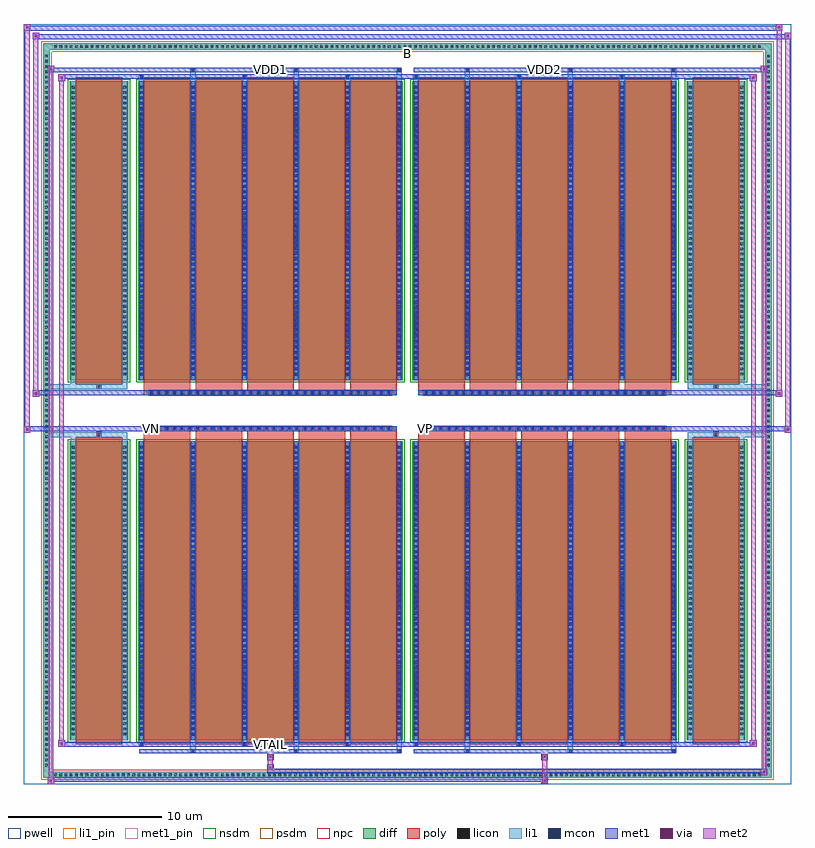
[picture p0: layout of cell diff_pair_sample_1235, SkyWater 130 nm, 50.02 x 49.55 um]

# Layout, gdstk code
import gdstk
lib = gdstk.Library(unit=1e-6, precision=5e-09)
def R(c, l, rs):  # rectangles x0, y0, x1, y1
    for r in rs: c.add(gdstk.rectangle(r[:2], r[2:], *l))
def A(c, l, x, y, w, h, nx, ny, dx, dy):  # array of equal rectangles
    R(c, l, [(x+i*dx, y+j*dy, x+i*dx+w, y+j*dy+h) for i in range(nx) for j in range(ny)])
def P(c, l, *ps):  # polygons
    for p in ps: c.add(gdstk.Polygon(p, *l))
pwell = (64, 44)
diff = (65, 20)
poly = (66, 20)
licon = (66, 44)
li1_pin = (67, 16)
li1 = (67, 20)
mcon = (67, 44)
met1_pin = (68, 16)
met1 = (68, 20)
via = (68, 44)
met2 = (69, 20)
nsdm = (93, 44)
psdm = (94, 20)
npc = (95, 20)

diff_pair_sample_1235 = lib.new_cell('diff_pair_sample_1235')
R(diff_pair_sample_1235, pwell, [(-25.01,-24.34,25.01,25.21), (-22.33,-22.53,-0.01,-0.805), (0.01,-22.53,22.33,-0.805), (-22.33,0.805,-0.01,22.53), (0.01,0.805,22.33,22.53)])
A(diff_pair_sample_1235, diff, -23.155, -23.94, 0.41, 0.41, 136, 2, 0.34, 47.47)
A(diff_pair_sample_1235, diff, -23.74, -23.325, 0.41, 0.41, 1, 137, 0, 0.34)
A(diff_pair_sample_1235, diff, 23.33, -23.325, 0.41, 0.41, 1, 137, 0, 0.34)
R(diff_pair_sample_1235, diff, [(-23.155,-23.94,23.155,-23.53), (-23.74,-23.325,-23.33,23.325), (23.33,-23.325,23.74,23.325), (-22.02,-21.485,-18.21,-1.985), (-17.57,-21.485,-0.32,-1.985), (0.32,-21.485,17.57,-1.985), (18.21,-21.485,22.02,-1.985), (-22.02,1.985,-18.21,21.485), (-17.57,1.985,-0.32,21.485), (0.32,1.985,17.57,21.485), (18.21,1.985,22.02,21.485), (-23.155,23.53,23.155,23.94)])
P(diff_pair_sample_1235, diff, [(23.74,23.94),(-23.74,23.94),(-23.74,-23.53),(-23.33,-23.53),(-23.33,23.53),(23.33,23.53),(23.33,-23.53),(-23.33,-23.53),(-23.74,-23.53),(-23.74,-23.94),(23.74,-23.94)])
A(diff_pair_sample_1235, poly, -17.18, -21.735, 3.03, 20, 5, 2, 3.36, 23.47)
A(diff_pair_sample_1235, poly, 0.71, -21.735, 3.03, 20, 5, 2, 3.36, 23.47)
A(diff_pair_sample_1235, poly, -17.18, -1.735, 3.03, 0.4, 5, 2, 3.36, 3.07)
A(diff_pair_sample_1235, poly, 0.71, -1.735, 3.03, 0.4, 5, 2, 3.36, 3.07)
A(diff_pair_sample_1235, poly, -16.86, -1.335, 0.33, 0.33, 32, 2, 0.5, 2.34)
A(diff_pair_sample_1235, poly, 1.03, -1.335, 0.33, 0.33, 32, 2, 0.5, 2.34)
R(diff_pair_sample_1235, poly, [(-21.63,-21.735,-18.6,-1.735), (18.6,-21.735,21.63,-1.735), (-20.28,-1.735,-19.95,-1.405), (-20.28,-1.735,-19.95,-1.405), (19.95,-1.735,20.28,-1.405), (19.95,-1.735,20.28,-1.405), (-17.18,-1.335,-0.71,-1.005), (0.71,-1.335,17.18,-1.005), (-17.18,1.005,-0.71,1.335), (0.71,1.005,17.18,1.335), (-20.28,1.405,-19.95,1.735), (-20.28,1.405,-19.95,1.735), (19.95,1.405,20.28,1.735), (19.95,1.405,20.28,1.735), (-21.63,1.735,-18.6,21.735), (18.6,1.735,21.63,21.735)])
A(diff_pair_sample_1235, licon, -23.035, -23.82, 0.17, 0.17, 136, 2, 0.34, 47.47)
A(diff_pair_sample_1235, licon, -23.62, -23.205, 0.17, 0.17, 1, 137, 0, 0.34)
A(diff_pair_sample_1235, licon, 23.45, -23.205, 0.17, 0.17, 1, 137, 0, 0.34)
A(diff_pair_sample_1235, licon, -21.88, -21.17, 0.17, 0.17, 1, 56, 0, 0.34)
A(diff_pair_sample_1235, licon, -18.52, -21.17, 0.17, 0.17, 1, 56, 0, 0.34)
A(diff_pair_sample_1235, licon, -17.43, -21.17, 0.17, 0.17, 6, 56, 3.36, 0.34)
A(diff_pair_sample_1235, licon, 0.46, -21.17, 0.17, 0.17, 6, 56, 3.36, 0.34)
A(diff_pair_sample_1235, licon, 18.35, -21.17, 0.17, 0.17, 1, 56, 0, 0.34)
A(diff_pair_sample_1235, licon, 21.71, -21.17, 0.17, 0.17, 1, 56, 0, 0.34)
A(diff_pair_sample_1235, licon, -16.78, -1.255, 0.17, 0.17, 32, 2, 0.5, 2.34)
A(diff_pair_sample_1235, licon, 1.11, -1.255, 0.17, 0.17, 32, 2, 0.5, 2.34)
A(diff_pair_sample_1235, licon, -21.88, 2.3, 0.17, 0.17, 1, 56, 0, 0.34)
A(diff_pair_sample_1235, licon, -18.52, 2.3, 0.17, 0.17, 1, 56, 0, 0.34)
A(diff_pair_sample_1235, licon, -17.43, 2.3, 0.17, 0.17, 6, 56, 3.36, 0.34)
A(diff_pair_sample_1235, licon, 0.46, 2.3, 0.17, 0.17, 6, 56, 3.36, 0.34)
A(diff_pair_sample_1235, licon, 18.35, 2.3, 0.17, 0.17, 1, 56, 0, 0.34)
A(diff_pair_sample_1235, licon, 21.71, 2.3, 0.17, 0.17, 1, 56, 0, 0.34)
R(diff_pair_sample_1235, licon, [(-20.2,-1.655,-20.03,-1.485), (20.03,-1.655,20.2,-1.485), (-20.2,1.485,-20.03,1.655), (20.03,1.485,20.2,1.655)])
R(diff_pair_sample_1235, li1_pin, [(-0.25,23.03,0.25,23.53)])
A(diff_pair_sample_1235, li1, -23.115, -23.9, 0.33, 0.33, 136, 2, 0.34, 47.47)
A(diff_pair_sample_1235, li1, -23.7, -23.285, 0.33, 0.33, 1, 137, 0, 0.34)
A(diff_pair_sample_1235, li1, 23.37, -23.285, 0.33, 0.33, 1, 137, 0, 0.34)
A(diff_pair_sample_1235, li1, -14.15, -22.29, 0.33, 0.805, 3, 2, 6.72, 43.775)
A(diff_pair_sample_1235, li1, -14.07, -22.29, 0.17, 0.17, 3, 2, 6.72, 44.41)
A(diff_pair_sample_1235, li1, 3.74, -22.29, 0.33, 0.805, 3, 2, 6.72, 43.775)
A(diff_pair_sample_1235, li1, 3.82, -22.29, 0.17, 0.17, 3, 2, 6.72, 44.41)
A(diff_pair_sample_1235, li1, -17.51, -21.86, 0.33, 0.375, 3, 2, 6.72, 43.345)
A(diff_pair_sample_1235, li1, -17.43, -21.86, 0.17, 0.17, 3, 2, 6.72, 43.55)
A(diff_pair_sample_1235, li1, 0.38, -21.86, 0.33, 0.375, 3, 2, 6.72, 43.345)
A(diff_pair_sample_1235, li1, 0.46, -21.86, 0.17, 0.17, 3, 2, 6.72, 43.55)
A(diff_pair_sample_1235, li1, -17.51, -21.485, 0.33, 19.5, 6, 2, 3.36, 23.47)
A(diff_pair_sample_1235, li1, 0.38, -21.485, 0.33, 19.5, 6, 2, 3.36, 23.47)
A(diff_pair_sample_1235, li1, -21.96, -21.25, 0.33, 0.33, 1, 56, 0, 0.34)
A(diff_pair_sample_1235, li1, -18.6, -21.25, 0.33, 0.33, 1, 56, 0, 0.34)
A(diff_pair_sample_1235, li1, -17.51, -21.25, 0.33, 0.33, 6, 56, 3.36, 0.34)
A(diff_pair_sample_1235, li1, 0.38, -21.25, 0.33, 0.33, 6, 56, 3.36, 0.34)
A(diff_pair_sample_1235, li1, 18.27, -21.25, 0.33, 0.33, 1, 56, 0, 0.34)
A(diff_pair_sample_1235, li1, 21.63, -21.25, 0.33, 0.33, 1, 56, 0, 0.34)
A(diff_pair_sample_1235, li1, -17.43, -21.18, 0.17, 0.17, 6, 53, 3.36, 0.36)
A(diff_pair_sample_1235, li1, -17.43, -21.18, 0.17, 18.89, 6, 2, 3.36, 23.47)
A(diff_pair_sample_1235, li1, 0.46, -21.18, 0.17, 0.17, 6, 53, 3.36, 0.36)
A(diff_pair_sample_1235, li1, 0.46, -21.18, 0.17, 18.89, 6, 2, 3.36, 23.47)
A(diff_pair_sample_1235, li1, -16.86, -1.335, 0.33, 0.33, 32, 2, 0.5, 2.34)
A(diff_pair_sample_1235, li1, 1.03, -1.335, 0.33, 0.33, 32, 2, 0.5, 2.34)
A(diff_pair_sample_1235, li1, -21.96, 2.22, 0.33, 0.33, 1, 56, 0, 0.34)
A(diff_pair_sample_1235, li1, -18.6, 2.22, 0.33, 0.33, 1, 56, 0, 0.34)
A(diff_pair_sample_1235, li1, -17.51, 2.22, 0.33, 0.33, 6, 56, 3.36, 0.34)
A(diff_pair_sample_1235, li1, 0.38, 2.22, 0.33, 0.33, 6, 56, 3.36, 0.34)
A(diff_pair_sample_1235, li1, 18.27, 2.22, 0.33, 0.33, 1, 56, 0, 0.34)
A(diff_pair_sample_1235, li1, 21.63, 2.22, 0.33, 0.33, 1, 56, 0, 0.34)
A(diff_pair_sample_1235, li1, -17.43, 2.29, 0.17, 0.17, 6, 53, 3.36, 0.36)
A(diff_pair_sample_1235, li1, 0.46, 2.29, 0.17, 0.17, 6, 53, 3.36, 0.36)
R(diff_pair_sample_1235, li1, [(-23.74,-23.94,-23.33,-23.53), (-23.74,-23.94,-23.33,-23.53), (-23.33,-23.94,23.33,-23.53), (23.33,-23.94,23.74,-23.53), (23.33,-23.94,23.74,-23.53), (-23.74,-23.53,-23.33,23.53), (23.33,-23.53,23.74,23.53), (-21.96,-21.485,-21.63,-1.985), (-18.6,-21.485,-18.27,-1.985), (18.27,-21.485,18.6,-1.985), (21.63,-21.485,21.96,-1.985), (-21.96,-1.985,-21.63,-1.405), (-18.6,-1.985,-18.27,-1.405), (18.27,-1.985,18.6,-1.405), (21.63,-1.985,21.96,-1.405), (-23.74,-1.735,-20.28,-1.405), (-21.96,-1.735,-20.28,-1.405), (-20.28,-1.735,-19.95,-1.405), (-19.95,-1.735,-18.27,-1.405), (18.27,-1.735,19.95,-1.405), (19.95,-1.735,20.28,-1.405), (19.95,-1.735,23.74,-1.405), (20.28,-1.735,21.96,-1.405), (-23.74,1.405,-20.28,1.735), (-21.96,1.405,-20.28,1.735), (-21.96,1.405,-21.63,1.985), (-20.28,1.405,-19.95,1.735), (-19.95,1.405,-18.27,1.735), (-18.6,1.405,-18.27,1.985), (18.27,1.405,19.95,1.735), (18.27,1.405,18.6,1.985), (19.95,1.405,20.28,1.735), (19.95,1.405,23.74,1.735), (20.28,1.405,21.96,1.735), (21.63,1.405,21.96,1.985), (-21.96,1.985,-21.63,21.485), (-18.6,1.985,-18.27,21.485), (18.27,1.985,18.6,21.485), (21.63,1.985,21.96,21.485), (-23.74,23.53,-23.33,23.94), (-23.74,23.53,-23.33,23.94), (-23.33,23.53,23.33,23.94), (23.33,23.53,23.74,23.94), (23.33,23.53,23.74,23.94)])
A(diff_pair_sample_1235, mcon, -14.07, -22.29, 0.17, 0.17, 3, 2, 6.72, 44.41)
A(diff_pair_sample_1235, mcon, 3.82, -22.29, 0.17, 0.17, 3, 2, 6.72, 44.41)
A(diff_pair_sample_1235, mcon, -17.43, -21.86, 0.17, 0.17, 3, 2, 6.72, 43.55)
A(diff_pair_sample_1235, mcon, 0.46, -21.86, 0.17, 0.17, 3, 2, 6.72, 43.55)
A(diff_pair_sample_1235, mcon, -17.43, -21.18, 0.17, 0.17, 6, 53, 3.36, 0.36)
A(diff_pair_sample_1235, mcon, 0.46, -21.18, 0.17, 0.17, 6, 53, 3.36, 0.36)
A(diff_pair_sample_1235, mcon, -16.78, -1.255, 0.17, 0.17, 32, 2, 0.5, 2.34)
A(diff_pair_sample_1235, mcon, 1.11, -1.255, 0.17, 0.17, 32, 2, 0.5, 2.34)
A(diff_pair_sample_1235, mcon, -17.43, 2.29, 0.17, 0.17, 6, 53, 3.36, 0.36)
A(diff_pair_sample_1235, mcon, 0.46, 2.29, 0.17, 0.17, 6, 53, 3.36, 0.36)
R(diff_pair_sample_1235, met1_pin, [(-9.08,-21.9,-8.81,-21.63), (-16.83,-1.295,-16.56,-1.025), (1.06,-1.295,1.33,-1.025), (-9.08,22.08,-8.81,22.35), (8.81,22.08,9.08,22.35)])
A(diff_pair_sample_1235, met1, -14.13, -22.35, 0.29, 0.29, 3, 2, 6.72, 44.41)
A(diff_pair_sample_1235, met1, 3.76, -22.35, 0.29, 0.29, 3, 2, 6.72, 44.41)
A(diff_pair_sample_1235, met1, -17.49, -21.92, 0.29, 0.29, 3, 2, 6.72, 43.55)
A(diff_pair_sample_1235, met1, 0.4, -21.92, 0.29, 0.29, 3, 2, 6.72, 43.55)
A(diff_pair_sample_1235, met1, -17.49, -21.485, 0.29, 19.5, 6, 2, 3.36, 23.47)
A(diff_pair_sample_1235, met1, 0.4, -21.485, 0.29, 19.5, 6, 2, 3.36, 23.47)
A(diff_pair_sample_1235, met1, -17.49, -21.24, 0.29, 0.29, 6, 53, 3.36, 0.36)
A(diff_pair_sample_1235, met1, 0.4, -21.24, 0.29, 0.29, 6, 53, 3.36, 0.36)
A(diff_pair_sample_1235, met1, -16.84, -1.315, 0.29, 0.29, 32, 2, 0.5, 2.34)
A(diff_pair_sample_1235, met1, 1.05, -1.315, 0.29, 0.29, 32, 2, 0.5, 2.34)
A(diff_pair_sample_1235, met1, -17.49, 2.23, 0.29, 0.29, 6, 53, 3.36, 0.36)
A(diff_pair_sample_1235, met1, 0.4, 2.23, 0.29, 0.29, 6, 53, 3.36, 0.36)
R(diff_pair_sample_1235, met1, [(-23.47,-24.34,-23.04,-23.91), (8.73,-24.34,9.16,-23.91), (-23.47,-24.2,9.16,-23.91), (23.04,-23.77,23.47,-23.34), (-9.16,-23.63,23.47,-23.34), (-9.16,-23.49,-8.73,-23.06), (-9.16,-22.78,-8.73,-22.35), (8.73,-22.78,9.16,-22.35), (-17.49,-22.35,-0.4,-22.06), (0.4,-22.35,17.49,-22.06), (-22.76,-21.92,-22.33,-21.49), (-22.76,-21.92,-17.49,-21.63), (-17.49,-21.92,-0.4,-21.63), (-0.4,-21.92,0.4,-21.63), (0.4,-21.92,17.49,-21.63), (17.49,-21.92,22.76,-21.63), (22.33,-21.92,22.76,-21.49), (-25.01,-1.435,-24.58,-1.005), (24.58,-1.435,25.01,-1.005), (-25.01,-1.335,-0.71,-1.005), (-17.18,-1.335,-0.71,-1.005), (0.71,-1.335,17.18,-1.005), (0.71,-1.335,25.01,-1.005), (-24.44,0.905,-24.01,1.335), (24.01,0.905,24.44,1.335), (-24.44,1.005,-17.18,1.335), (-17.18,1.005,-0.71,1.335), (0.71,1.005,17.18,1.335), (17.18,1.005,24.44,1.335), (-22.76,21.49,-22.33,21.92), (22.33,21.49,22.76,21.92), (-22.76,21.63,-17.49,21.92), (-17.49,21.63,-0.4,21.92), (-0.4,21.63,0.4,21.92), (0.4,21.63,17.49,21.92), (17.49,21.63,22.76,21.92), (-23.47,22.06,-23.04,22.49), (-23.47,22.06,-17.49,22.35), (-17.49,22.06,-0.4,22.35), (0.4,22.06,17.49,22.35), (17.49,22.06,23.47,22.35), (23.04,22.06,23.47,22.49), (-24.44,24.21,-24.01,24.64), (-24.44,24.21,-22.33,24.54), (-22.33,24.21,22.33,24.54), (22.33,24.21,25.01,24.54), (24.58,24.21,25.01,24.64), (-25.01,24.78,-24.58,25.21), (-25.01,24.78,-22.33,25.11), (-22.33,24.78,22.33,25.11), (22.33,24.78,24.44,25.11), (24.01,24.78,24.44,25.21)])
R(diff_pair_sample_1235, via, [(-23.33,-24.2,-23.18,-24.05), (8.87,-24.2,9.02,-24.05), (23.18,-23.63,23.33,-23.48), (-9.02,-23.35,-8.87,-23.2), (-9.02,-22.64,-8.87,-22.49), (8.87,-22.64,9.02,-22.49), (-22.62,-21.78,-22.47,-21.63), (22.47,-21.78,22.62,-21.63), (-24.87,-1.295,-24.72,-1.145), (24.72,-1.295,24.87,-1.145), (-24.3,1.045,-24.15,1.195), (24.15,1.045,24.3,1.195), (-22.62,21.63,-22.47,21.78), (22.47,21.63,22.62,21.78), (-23.33,22.2,-23.18,22.35), (23.18,22.2,23.33,22.35), (-24.3,24.35,-24.15,24.5), (24.72,24.35,24.87,24.5), (-24.87,24.92,-24.72,25.07), (24.15,24.92,24.3,25.07)])
R(diff_pair_sample_1235, met2, [(-23.47,-24.34,-23.04,-23.91), (-23.4,-24.34,-23.11,22.49), (-23.11,-24.34,-23.04,-23.91), (-23.42,-24.29,-23.09,-23.96), (8.78,-24.29,9.11,-23.96), (8.78,-23.96,9.11,-22.73), (23.04,-23.77,23.47,-23.34), (23.11,-23.77,23.4,22.49), (23.4,-23.77,23.47,-23.34), (23.09,-23.72,23.42,-23.39), (-9.11,-23.44,-8.78,-23.11), (-9.11,-23.11,-8.78,-22.73), (-9.11,-22.73,-8.78,-22.4), (8.78,-22.73,9.11,-22.4), (-22.76,-21.92,-22.33,-21.49), (-22.69,-21.92,-22.4,21.92), (-22.4,-21.92,-22.33,-21.49), (22.33,-21.92,22.76,-21.49), (22.4,-21.92,22.69,21.92), (22.69,-21.92,22.76,-21.49), (-22.71,-21.87,-22.38,-21.54), (22.38,-21.87,22.71,-21.54), (-25.01,-1.435,-24.58,-1.005), (-24.96,-1.435,-24.63,25.21), (-24.63,-1.435,-24.58,-1.005), (24.58,-1.435,25.01,-1.005), (24.63,-1.435,24.96,24.64), (24.96,-1.435,25.01,-1.005), (-24.96,-1.385,-24.63,-1.055), (24.63,-1.385,24.96,-1.055), (-24.44,0.905,-24.01,1.335), (-24.39,0.905,-24.06,24.64), (-24.06,0.905,-24.01,1.335), (24.01,0.905,24.44,1.335), (24.06,0.905,24.39,25.21), (24.39,0.905,24.44,1.335), (-24.39,0.955,-24.06,1.285), (24.06,0.955,24.39,1.285), (-22.76,21.49,-22.33,21.92), (-22.4,21.49,-22.33,21.92), (22.33,21.49,22.76,21.92), (22.69,21.49,22.76,21.92), (-22.71,21.54,-22.38,21.87), (22.38,21.54,22.71,21.87), (-23.47,22.06,-23.04,22.49), (-23.11,22.06,-23.04,22.49), (23.04,22.06,23.47,22.49), (23.4,22.06,23.47,22.49), (-23.42,22.11,-23.09,22.44), (23.09,22.11,23.42,22.44), (-24.44,24.21,-24.01,24.64), (-24.06,24.21,-24.01,24.64), (24.58,24.21,25.01,24.64), (24.96,24.21,25.01,24.64), (-24.39,24.26,-24.06,24.59), (24.63,24.26,24.96,24.59), (-25.01,24.78,-24.58,25.21), (-24.63,24.78,-24.58,25.21), (24.01,24.78,24.44,25.21), (24.39,24.78,24.44,25.21), (-24.96,24.83,-24.63,25.16), (24.06,24.83,24.39,25.16)])
R(diff_pair_sample_1235, nsdm, [(-22.15,-21.615,-18.08,-1.855), (-17.7,-21.615,-0.19,-1.855), (0.19,-21.615,17.7,-1.855), (18.08,-21.615,22.15,-1.855), (-22.15,1.855,-18.08,21.615), (-17.7,1.855,-0.19,21.615), (0.19,1.855,17.7,21.615), (18.08,1.855,22.15,21.615)])
P(diff_pair_sample_1235, psdm, [(23.87,24.07),(-23.87,24.07),(-23.87,-23.4),(-23.2,-23.4),(-23.2,23.4),(23.2,23.4),(23.2,-23.4),(-23.2,-23.4),(-23.87,-23.4),(-23.87,-24.07),(23.87,-24.07)])
A(diff_pair_sample_1235, npc, -16.88, -1.355, 0.37, 0.37, 32, 2, 0.5, 2.34)
A(diff_pair_sample_1235, npc, 1.01, -1.355, 0.37, 0.37, 32, 2, 0.5, 2.34)
R(diff_pair_sample_1235, npc, [(-20.3,-1.755,-19.93,-1.385), (19.93,-1.755,20.3,-1.385), (-16.88,-1.355,-16.01,-0.985), (-16.88,-1.355,-16.01,-0.985), (-16.38,-1.355,-15.51,-0.985), (-16.38,-1.355,-15.51,-0.985), (-15.88,-1.355,-15.01,-0.985), (-15.88,-1.355,-15.01,-0.985), (-15.38,-1.355,-14.51,-0.985), (-15.38,-1.355,-14.51,-0.985), (-14.88,-1.355,-14.01,-0.985), (-14.88,-1.355,-14.01,-0.985), (-14.38,-1.355,-13.51,-0.985), (-14.38,-1.355,-13.51,-0.985), (-13.88,-1.355,-13.01,-0.985), (-13.88,-1.355,-13.01,-0.985), (-13.38,-1.355,-12.51,-0.985), (-13.38,-1.355,-12.51,-0.985), (-12.88,-1.355,-12.01,-0.985), (-12.88,-1.355,-12.01,-0.985), (-12.38,-1.355,-11.51,-0.985), (-12.38,-1.355,-11.51,-0.985), (-11.88,-1.355,-11.01,-0.985), (-11.88,-1.355,-11.01,-0.985), (-11.38,-1.355,-10.51,-0.985), (-11.38,-1.355,-10.51,-0.985), (-10.88,-1.355,-10.01,-0.985), (-10.88,-1.355,-10.01,-0.985), (-10.38,-1.355,-9.51,-0.985), (-10.38,-1.355,-9.51,-0.985), (-9.88,-1.355,-9.01,-0.985), (-9.88,-1.355,-9.01,-0.985), (-9.38,-1.355,-8.51,-0.985), (-9.38,-1.355,-8.51,-0.985), (-8.88,-1.355,-8.01,-0.985), (-8.88,-1.355,-8.01,-0.985), (-8.38,-1.355,-7.51,-0.985), (-8.38,-1.355,-7.51,-0.985), (-7.88,-1.355,-7.01,-0.985), (-7.88,-1.355,-7.01,-0.985), (-7.38,-1.355,-6.51,-0.985), (-7.38,-1.355,-6.51,-0.985), (-6.88,-1.355,-6.01,-0.985), (-6.88,-1.355,-6.01,-0.985), (-6.38,-1.355,-5.51,-0.985), (-6.38,-1.355,-5.51,-0.985), (-5.88,-1.355,-5.01,-0.985), (-5.88,-1.355,-5.01,-0.985), (-5.38,-1.355,-4.51,-0.985), (-5.38,-1.355,-4.51,-0.985), (-4.88,-1.355,-4.01,-0.985), (-4.88,-1.355,-4.01,-0.985), (-4.38,-1.355,-3.51,-0.985), (-4.38,-1.355,-3.51,-0.985), (-3.88,-1.355,-3.01,-0.985), (-3.88,-1.355,-3.01,-0.985), (-3.38,-1.355,-2.51,-0.985), (-3.38,-1.355,-2.51,-0.985), (-2.88,-1.355,-2.01,-0.985), (-2.88,-1.355,-2.01,-0.985), (-2.38,-1.355,-1.51,-0.985), (-2.38,-1.355,-1.51,-0.985), (-1.88,-1.355,-1.01,-0.985), (-1.88,-1.355,-1.01,-0.985), (1.01,-1.355,1.88,-0.985), (1.01,-1.355,1.88,-0.985), (1.51,-1.355,2.38,-0.985), (1.51,-1.355,2.38,-0.985), (2.01,-1.355,2.88,-0.985), (2.01,-1.355,2.88,-0.985), (2.51,-1.355,3.38,-0.985), (2.51,-1.355,3.38,-0.985), (3.01,-1.355,3.88,-0.985), (3.01,-1.355,3.88,-0.985), (3.51,-1.355,4.38,-0.985), (3.51,-1.355,4.38,-0.985), (4.01,-1.355,4.88,-0.985), (4.01,-1.355,4.88,-0.985), (4.51,-1.355,5.38,-0.985), (4.51,-1.355,5.38,-0.985), (5.01,-1.355,5.88,-0.985), (5.01,-1.355,5.88,-0.985), (5.51,-1.355,6.38,-0.985), (5.51,-1.355,6.38,-0.985), (6.01,-1.355,6.88,-0.985), (6.01,-1.355,6.88,-0.985), (6.51,-1.355,7.38,-0.985), (6.51,-1.355,7.38,-0.985), (7.01,-1.355,7.88,-0.985), (7.01,-1.355,7.88,-0.985), (7.51,-1.355,8.38,-0.985), (7.51,-1.355,8.38,-0.985), (8.01,-1.355,8.88,-0.985), (8.01,-1.355,8.88,-0.985), (8.51,-1.355,9.38,-0.985), (8.51,-1.355,9.38,-0.985), (9.01,-1.355,9.88,-0.985), (9.01,-1.355,9.88,-0.985), (9.51,-1.355,10.38,-0.985), (9.51,-1.355,10.38,-0.985), (10.01,-1.355,10.88,-0.985), (10.01,-1.355,10.88,-0.985), (10.51,-1.355,11.38,-0.985), (10.51,-1.355,11.38,-0.985), (11.01,-1.355,11.88,-0.985), (11.01,-1.355,11.88,-0.985), (11.51,-1.355,12.38,-0.985), (11.51,-1.355,12.38,-0.985), (12.01,-1.355,12.88,-0.985), (12.01,-1.355,12.88,-0.985), (12.51,-1.355,13.38,-0.985), (12.51,-1.355,13.38,-0.985), (13.01,-1.355,13.88,-0.985), (13.01,-1.355,13.88,-0.985), (13.51,-1.355,14.38,-0.985), (13.51,-1.355,14.38,-0.985), (14.01,-1.355,14.88,-0.985), (14.01,-1.355,14.88,-0.985), (14.51,-1.355,15.38,-0.985), (14.51,-1.355,15.38,-0.985), (15.01,-1.355,15.88,-0.985), (15.01,-1.355,15.88,-0.985), (15.51,-1.355,16.38,-0.985), (15.51,-1.355,16.38,-0.985), (16.01,-1.355,16.88,-0.985), (16.01,-1.355,16.88,-0.985), (-16.88,0.985,-16.01,1.355), (-16.88,0.985,-16.01,1.355), (-16.38,0.985,-15.51,1.355), (-16.38,0.985,-15.51,1.355), (-15.88,0.985,-15.01,1.355), (-15.88,0.985,-15.01,1.355), (-15.38,0.985,-14.51,1.355), (-15.38,0.985,-14.51,1.355), (-14.88,0.985,-14.01,1.355), (-14.88,0.985,-14.01,1.355), (-14.38,0.985,-13.51,1.355), (-14.38,0.985,-13.51,1.355), (-13.88,0.985,-13.01,1.355), (-13.88,0.985,-13.01,1.355), (-13.38,0.985,-12.51,1.355), (-13.38,0.985,-12.51,1.355), (-12.88,0.985,-12.01,1.355), (-12.88,0.985,-12.01,1.355), (-12.38,0.985,-11.51,1.355), (-12.38,0.985,-11.51,1.355), (-11.88,0.985,-11.01,1.355), (-11.88,0.985,-11.01,1.355), (-11.38,0.985,-10.51,1.355), (-11.38,0.985,-10.51,1.355), (-10.88,0.985,-10.01,1.355), (-10.88,0.985,-10.01,1.355), (-10.38,0.985,-9.51,1.355), (-10.38,0.985,-9.51,1.355), (-9.88,0.985,-9.01,1.355), (-9.88,0.985,-9.01,1.355), (-9.38,0.985,-8.51,1.355), (-9.38,0.985,-8.51,1.355), (-8.88,0.985,-8.01,1.355), (-8.88,0.985,-8.01,1.355), (-8.38,0.985,-7.51,1.355), (-8.38,0.985,-7.51,1.355), (-7.88,0.985,-7.01,1.355), (-7.88,0.985,-7.01,1.355), (-7.38,0.985,-6.51,1.355), (-7.38,0.985,-6.51,1.355), (-6.88,0.985,-6.01,1.355), (-6.88,0.985,-6.01,1.355), (-6.38,0.985,-5.51,1.355), (-6.38,0.985,-5.51,1.355), (-5.88,0.985,-5.01,1.355), (-5.88,0.985,-5.01,1.355), (-5.38,0.985,-4.51,1.355), (-5.38,0.985,-4.51,1.355), (-4.88,0.985,-4.01,1.355), (-4.88,0.985,-4.01,1.355), (-4.38,0.985,-3.51,1.355), (-4.38,0.985,-3.51,1.355), (-3.88,0.985,-3.01,1.355), (-3.88,0.985,-3.01,1.355), (-3.38,0.985,-2.51,1.355), (-3.38,0.985,-2.51,1.355), (-2.88,0.985,-2.01,1.355), (-2.88,0.985,-2.01,1.355), (-2.38,0.985,-1.51,1.355), (-2.38,0.985,-1.51,1.355), (-1.88,0.985,-1.01,1.355), (-1.88,0.985,-1.01,1.355), (1.01,0.985,1.88,1.355), (1.01,0.985,1.88,1.355), (1.51,0.985,2.38,1.355), (1.51,0.985,2.38,1.355), (2.01,0.985,2.88,1.355), (2.01,0.985,2.88,1.355), (2.51,0.985,3.38,1.355), (2.51,0.985,3.38,1.355), (3.01,0.985,3.88,1.355), (3.01,0.985,3.88,1.355), (3.51,0.985,4.38,1.355), (3.51,0.985,4.38,1.355), (4.01,0.985,4.88,1.355), (4.01,0.985,4.88,1.355), (4.51,0.985,5.38,1.355), (4.51,0.985,5.38,1.355), (5.01,0.985,5.88,1.355), (5.01,0.985,5.88,1.355), (5.51,0.985,6.38,1.355), (5.51,0.985,6.38,1.355), (6.01,0.985,6.88,1.355), (6.01,0.985,6.88,1.355), (6.51,0.985,7.38,1.355), (6.51,0.985,7.38,1.355), (7.01,0.985,7.88,1.355), (7.01,0.985,7.88,1.355), (7.51,0.985,8.38,1.355), (7.51,0.985,8.38,1.355), (8.01,0.985,8.88,1.355), (8.01,0.985,8.88,1.355), (8.51,0.985,9.38,1.355), (8.51,0.985,9.38,1.355), (9.01,0.985,9.88,1.355), (9.01,0.985,9.88,1.355), (9.51,0.985,10.38,1.355), (9.51,0.985,10.38,1.355), (10.01,0.985,10.88,1.355), (10.01,0.985,10.88,1.355), (10.51,0.985,11.38,1.355), (10.51,0.985,11.38,1.355), (11.01,0.985,11.88,1.355), (11.01,0.985,11.88,1.355), (11.51,0.985,12.38,1.355), (11.51,0.985,12.38,1.355), (12.01,0.985,12.88,1.355), (12.01,0.985,12.88,1.355), (12.51,0.985,13.38,1.355), (12.51,0.985,13.38,1.355), (13.01,0.985,13.88,1.355), (13.01,0.985,13.88,1.355), (13.51,0.985,14.38,1.355), (13.51,0.985,14.38,1.355), (14.01,0.985,14.88,1.355), (14.01,0.985,14.88,1.355), (14.51,0.985,15.38,1.355), (14.51,0.985,15.38,1.355), (15.01,0.985,15.88,1.355), (15.01,0.985,15.88,1.355), (15.51,0.985,16.38,1.355), (15.51,0.985,16.38,1.355), (16.01,0.985,16.88,1.355), (16.01,0.985,16.88,1.355), (-20.3,1.385,-19.93,1.755), (19.93,1.385,20.3,1.755)])
diff_pair_sample_1235.add(gdstk.Label('VTAIL', (-8.945,-21.765), layer=68, texttype=5))
diff_pair_sample_1235.add(gdstk.Label('VN', (-16.695,-1.16), layer=68, texttype=5))
diff_pair_sample_1235.add(gdstk.Label('VP', (1.195,-1.16), layer=68, texttype=5))
diff_pair_sample_1235.add(gdstk.Label('B', (0,23.28), layer=67, texttype=5))
diff_pair_sample_1235.add(gdstk.Label('VDD2', (8.945,22.215), layer=68, texttype=5))
diff_pair_sample_1235.add(gdstk.Label('VDD1', (-8.945,22.215), layer=68, texttype=5))

lib.write_gds('diff_pair_sample_1235.gds')
